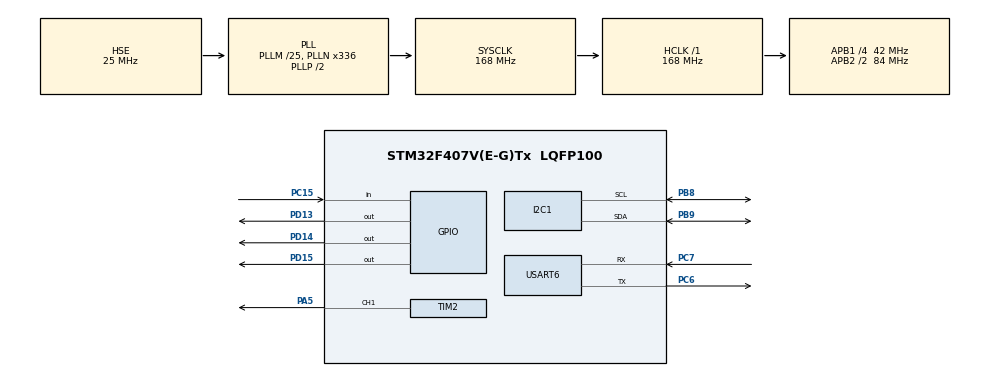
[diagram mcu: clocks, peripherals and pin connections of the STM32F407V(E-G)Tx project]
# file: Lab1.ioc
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Mcu.Family=STM32F4
Mcu.Name=STM32F407V(E-G)Tx
Mcu.Package=LQFP100
NVIC.I2C1_ER_IRQn=true\:0\:0\:false\:false\:true\:true\:true
NVIC.I2C1_EV_IRQn=true\:0\:0\:false\:false\:true\:true\:true
NVIC.PriorityGroup=NVIC_PRIORITYGROUP_4
NVIC.TIM6_DAC_IRQn=true\:0\:0\:false\:false\:true\:true\:true
NVIC.USART6_IRQn=true\:0\:0\:false\:false\:true\:true\:true
PA13.Mode=JTAG_5_pins
PA13.Signal=SYS_JTMS-SWDIO
PA14.Mode=JTAG_5_pins
PA14.Signal=SYS_JTCK-SWCLK
PA15.Mode=JTAG_5_pins
PA15.Signal=SYS_JTDI
PA5.Signal=S_TIM2_CH1_ETR
PB3.Mode=JTAG_5_pins
PB3.Signal=SYS_JTDO-SWO
PB4.Mode=JTAG_5_pins
PB4.Signal=SYS_JTRST
PB8.Mode=I2C
PB8.Signal=I2C1_SCL
PB9.Mode=I2C
PB9.Signal=I2C1_SDA
PC15-OSC32_OUT.Signal=GPIO_Input
PC6.Mode=Asynchronous
PC6.Signal=USART6_TX
PC7.Mode=Asynchronous
PC7.Signal=USART6_RX
PD13.Signal=GPIO_Output
PD14.Signal=GPIO_Output
PD15.Signal=GPIO_Output
PH0-OSC_IN.Mode=HSE-External-Oscillator
PH0-OSC_IN.Signal=RCC_OSC_IN
PH1-OSC_OUT.Mode=HSE-External-Oscillator
PH1-OSC_OUT.Signal=RCC_OSC_OUT
ProjectManager.HeapSize=0x200
ProjectManager.StackSize=0x400
ProjectManager.TargetToolchain=STM32CubeIDE
RCC.48MHZClocksFreq_Value=84000000
RCC.AHBFreq_Value=168000000
RCC.APB1CLKDivider=RCC_HCLK_DIV4
RCC.APB1Freq_Value=42000000
RCC.APB1TimFreq_Value=84000000
RCC.APB2CLKDivider=RCC_HCLK_DIV2
RCC.APB2Freq_Value=84000000
RCC.APB2TimFreq_Value=168000000
RCC.CortexFreq_Value=168000000
RCC.HCLKFreq_Value=168000000
RCC.HSE_VALUE=25000000
RCC.HSI_VALUE=16000000
RCC.LSE_VALUE=32768
RCC.PLLM=25
RCC.PLLN=336
RCC.PLLSourceVirtual=RCC_PLLSOURCE_HSE
RCC.SYSCLKFreq_VALUE=168000000
RCC.SYSCLKSource=RCC_SYSCLKSOURCE_PLLCLK
RCC.VCOOutputFreq_Value=336000000
SH.S_TIM2_CH1_ETR.0=TIM2_CH1,PWM Generation1 CH1
TIM2.Channel-PWM\ Generation1\ CH1=TIM_CHANNEL_1
TIM2.Period=10
TIM6.Period=100
TIM6.Prescaler=16000
USART6.VirtualMode=VM_ASYNC
VP_TIM6_VS_ClockSourceINT.Mode=Enable_Timer
board=custom

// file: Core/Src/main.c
/* USER CODE BEGIN Header */
/**
  ******************************************************************************
  * @file           : main.c
  * @brief          : Main program body
  ******************************************************************************
  * @attention
  *
  * <h2><center>&copy; Copyright (c) 2021 STMicroelectronics.
  * All rights reserved.</center></h2>
  *
  * This software component is licensed by ST under BSD 3-Clause license,
  * the "License"; You may not use this file except in compliance with the
  * License. You may obtain a copy of the License at:
  *                        opensource.org/licenses/BSD-3-Clause
  *
  ******************************************************************************
  */
/* USER CODE END Header */
#include "main.h"
#include "i2c.h"
#include "tim.h"
#include "usart.h"
#include "gpio.h"

/* USER CODE BEGIN Includes */

#include "hal_driver.h"
#include <stdio.h>
#include "kb.h"
#include "sound_driver.h"
#include "oled.h"

/* USER CODE END Includes */

void SystemClock_Config(void);

#define BUFFER_SIZE 32

uint8_t buffer[BUFFER_SIZE];

size_t write_pointer = 0;
size_t read_pointer = 0;

enum MathOperation {
    ADDITION,
    SUBTRACTION,
    MULTIPLICATION,
    DIVISION,
    EQUAL,
    NONE
};

int mode = 0;
char ch[] = "F";
char message[150] = "";
char mode0[] = "Mode: Preriv \n\r";
char mode1[] = "Mode: Bez Preriv \n\r";
int canReceive = 1;
short isFirst = 1;
short isJustReset = 1;
short counter = 0;
short firstOperand = 0;
short secondOperand = 0;
enum MathOperation operation = NONE;

char calcChars[] = "0123456789";
char calcCharsOperations[] = "+-*/=";
short curCalcsOperation = 0;
char errorMessage[] = "ERROR";
char errorMessageDiv[] = "Cant divide by zero";

//LAB4

#define FONT Font_7x10 // MB CHANGE

void writeScreenMessage(char *message) {
    oled_WriteString(message, FONT, White);
    oled_UpdateScreen();
}

void writeScreenChar(char ch) {
    oled_WriteChar(ch, FONT, White);
    oled_UpdateScreen();
}

void resetScreen() {
    oled_Fill(Black);
    oled_SetCursor(0, 0);
    oled_UpdateScreen();
}

void writeScreenError() {
    writeScreenMessage(errorMessage);
    oled_UpdateScreen();
}

void writeScreenErrorAndReset() {
    writeScreenError();
    resetCalc();
    oled_UpdateScreen();
}

void nextOperation(){
    curCalcsOperation++;
    if (curCalcsOperation > 3)
        curCalcsOperation = 0;
}

short checkNumbertoOverflow(short fullNumber, short number) {
    if ((fullNumber == 3276 && number >= 7) || fullNumber > 3276)
        return -1;
    return fullNumber * 10 + number;
}

short getNumber(char ch) {
    short asciNum = ch;
    if (asciNum >= 48 && asciNum <= 57)
        return asciNum - '0';
    return -1;
}

enum MathOperation getMathOperation(char ch) {
    switch (ch) {
        case '+':
            return ADDITION;
        case '-':
            return SUBTRACTION;
        case '*':
            return MULTIPLICATION;
        case '/':
            return DIVISION;
        case '=':
            return EQUAL;
    }
    return NONE;
}

void handle_calc(char ch) {
    if (isJustReset) {
        resetScreen();
        isJustReset = 0;
    }
    snprintf(message, sizeof(message),
                             "Key in calc pressed is %d\r\n", ch);
                    sendMessage(message);
    enum MathOperation operationBuf = getMathOperation(ch);
    if (operationBuf == NONE){
    	if (!isFirst && counter == 0)
    		oled_SetCursor(0, 20);
    	writeScreenChar(ch);
    }
    if (operationBuf != NONE && operationBuf != EQUAL && (!isFirst && counter == 0 ||  isFirst && counter > 0)) {
                oled_SetCursor(0, 10);
                writeScreenChar(ch);
                operation = operationBuf;
                isFirst = 0;
                counter = 0;
                oled_UpdateScreen();
                return;
            }

    if (counter > 0) {
        if (isFirst && operationBuf != NONE && operationBuf != EQUAL) {
            oled_SetCursor(0, 10);
            writeScreenChar(ch);
            operation = operationBuf;
            isFirst = 0;
            counter = 0;
            oled_UpdateScreen();
            return;
        }
        if (!isFirst && operationBuf != NONE && operationBuf != EQUAL){
        	writeScreenErrorAndReset();
        	return;
        }
        if (!isFirst && operationBuf != NONE && operationBuf == EQUAL) {
        	oled_SetCursor(0, 30);
        	writeScreenChar(ch);
        	oled_SetCursor(0, 40);
            long testOverflow;
            short res;
            switch (operation) {
                case ADDITION: {
                    testOverflow = firstOperand + secondOperand;
                    res = firstOperand + secondOperand;
                    break;
                }
                case SUBTRACTION: {
                    testOverflow = firstOperand - secondOperand;
                    res = firstOperand - secondOperand;
                    break;
                }
                case MULTIPLICATION: {
                    testOverflow = firstOperand * secondOperand;
                    res = firstOperand * secondOperand;
                    break;
                }
                case DIVISION: {
                    if (secondOperand == 0) {
                        //sprintf(message, "\n\rCant divide by zero\n\r");
                        writeScreenMessage(errorMessageDiv);
                        resetCalc();
                        return;
                    }
                    testOverflow = firstOperand / secondOperand;
                    res = firstOperand / secondOperand;
                    break;
                }
            }
            if (res == testOverflow) {
                sprintf(message, "%d", res);
                writeScreenMessage(message);
            } else {
                writeScreenError();
            }
            resetCalc();
            oled_UpdateScreen();
            return;
        }
    }
    if (operationBuf != NONE || counter > 4) {
        writeScreenErrorAndReset();
        return;
    }

    short number = getNumber(ch);
    if (number != -1) {
        if (isFirst) {
            short numberBuf = checkNumbertoOverflow(firstOperand, number);
            if (numberBuf == -1) {
                writeScreenErrorAndReset();
                return;
            }
            firstOperand = numberBuf;
        } else {
            short numberBuf = checkNumbertoOverflow(secondOperand, number);
            if (numberBuf == -1) {
                writeScreenErrorAndReset();
                return;
            }
            secondOperand = numberBuf;
        }
        counter++;
    } else {
        writeScreenErrorAndReset();
    }
}

short makeMathOperation(enum MathOperation operation, short firstOperand, short secondOperand) {
    switch (operation) {
        case ADDITION: {
            long testOverflow = firstOperand + secondOperand;
            short result = firstOperand + secondOperand;
            if (result == testOverflow)
                return result;
            else
                return -1;
        }
        case SUBTRACTION:
            return firstOperand - secondOperand;
        case MULTIPLICATION: {
            long testOverflow = firstOperand * secondOperand;
            short result = firstOperand * secondOperand;
            if (result == testOverflow)
                return result;
            else
                return -1;
        }
        case DIVISION: {
            return firstOperand / secondOperand;
        }
    }
    return -1;
}

void
resetCalc() {
    isFirst = 1;
    counter = 0;
    firstOperand = 0;
    secondOperand = 0;
    operation = NONE;
    isJustReset = 1;
}

void buffer_init() {
    for (size_t i = 0; i < BUFFER_SIZE; ++i)
        buffer[i] = 0;
}

void buffer_add(uint8_t num) {
    buffer[write_pointer] = num;
    write_pointer = (write_pointer + 1) % BUFFER_SIZE;
}

int buffer_read() {
    if (read_pointer == write_pointer) {
        return -1;
    }
    uint8_t num = buffer[read_pointer];
    read_pointer = (read_pointer + 1) % BUFFER_SIZE;
    return num;
}

void keyboard_read(void) {
//    static uint8_t const rows[4] = { 0xF7, 0x7B, 0x3D, 0x1E };
    static uint8_t const rows[4] = {0x1E, 0x3D, 0x7B, 0xF7};
    static int current_row = 0;
    static int row_result[4] = {0, 0, 0, 0};

    if (ks_state == 0) {
        if (row_result[current_row] != ks_result) {
            uint8_t keyNum = 0;
            if (ks_result & 1) {
                buffer_add(3 * current_row + 3);
            }
            if (ks_result & 2) {
                buffer_add(3 * current_row + 2);
            }
            if (ks_result & 4) {
                buffer_add(3 * current_row + 1);
            }
        }

        row_result[current_row] = ks_result;
        current_row = (current_row + 1) % 4;
        ks_current_row = rows[current_row];
        ks_continue();
    }
}

void HAL_I2C_MemTxCpltCallback(I2C_HandleTypeDef *hi2c) {
    if (hi2c == &hi2c1 && ks_state) {
        ks_continue();
    }
}

void HAL_I2C_MemRxCpltCallback(I2C_HandleTypeDef *hi2c) {
    if (hi2c == &hi2c1 && ks_state) {
        ks_continue();
    }
}

//void HAL_TIM_PeriodElapsedCallback(TIM_HandleTypeDef *htim) {
//    if (htim->Instance == TIM6) {
//        keyboard_read();
//    }
//}

typedef enum {
    INPUT_PORT = 0x00, //Read byte XXXX XXXX
    OUTPUT_PORT = 0x01, //Read/write byte 1111 1111
    POLARITY_INVERSION = 0x02, //Read/write byte 0000 0000
    CONFIG = 0x03 //Read/write byte 1111 1111
} pca9538_regs_t;

void sendMessage(char *message) {
    int size = strlen(message);
//    if (mode)
    HAL_UART_Transmit(&huart6, (uint8_t *) message, size, 100);
//    else {
////    	delay(1000);
//        long time = getCurrentTime();
//        HAL_StatusTypeDef isReaded1 = HAL_BUSY;
//        int curtime = getCurrentTime();
//        int counter = 0;
//        while (counter < 100000 && isReaded1 == HAL_BUSY) {
//            isReaded1 = HAL_UART_Transmit_IT(&huart6, (uint8_t *) message, size);
//            curtime = getCurrentTime();
//            counter++;
//        }
//    }
}

void sendError() {
    sendMessage(errorMessage);
}

void sendErrorAndReset() {
    sendError();
    resetCalc();
}

//void HAL_UART_TxCpltCallback(UART_HandleTypeDef *huart) {

int TEMPO_AHA = 140;

int melody_AHA[] = {

        // Take on me, by A-ha
        // Score available at https://musescore.com/user/27103612/scores/4834399
        // Arranged by Edward Truong

        NOTE_FS5, 8, NOTE_FS5, 8, NOTE_D5, 8, NOTE_B4, 8, REST, 8, NOTE_B4, 8, REST, 8, NOTE_E5, 8,
        REST, 8, NOTE_E5, 8, REST, 8, NOTE_E5, 8, NOTE_GS5, 8, NOTE_GS5, 8, NOTE_A5, 8, NOTE_B5, 8,
        NOTE_A5, 8, NOTE_A5, 8, NOTE_A5, 8, NOTE_E5, 8, REST, 8, NOTE_D5, 8, REST, 8, NOTE_FS5, 8,
        REST, 8, NOTE_FS5, 8, REST, 8, NOTE_FS5, 8, NOTE_E5, 8, NOTE_E5, 8, NOTE_FS5, 8, NOTE_E5, 8,
        NOTE_FS5, 8, NOTE_FS5, 8, NOTE_D5, 8, NOTE_B4, 8, REST, 8, NOTE_B4, 8, REST, 8, NOTE_E5, 8,

        REST, 8, NOTE_E5, 8, REST, 8, NOTE_E5, 8, NOTE_GS5, 8, NOTE_GS5, 8, NOTE_A5, 8, NOTE_B5, 8,
        NOTE_A5, 8, NOTE_A5, 8, NOTE_A5, 8, NOTE_E5, 8, REST, 8, NOTE_D5, 8, REST, 8, NOTE_FS5, 8,
        REST, 8, NOTE_FS5, 8, REST, 8, NOTE_FS5, 8, NOTE_E5, 8, NOTE_E5, 8, NOTE_FS5, 8, NOTE_E5, 8,
        NOTE_FS5, 8, NOTE_FS5, 8, NOTE_D5, 8, NOTE_B4, 8, REST, 8, NOTE_B4, 8, REST, 8, NOTE_E5, 8,
        REST, 8, NOTE_E5, 8, REST, 8, NOTE_E5, 8, NOTE_GS5, 8, NOTE_GS5, 8, NOTE_A5, 8, NOTE_B5, 8,

        NOTE_A5, 8, NOTE_A5, 8, NOTE_A5, 8, NOTE_E5, 8, REST, 8, NOTE_D5, 8, REST, 8, NOTE_FS5, 8,
        REST, 8, NOTE_FS5, 8, REST, 8, NOTE_FS5, 8, NOTE_E5, 8, NOTE_E5, 8, NOTE_FS5, 8, NOTE_E5, 8,

};

int TEMPO_STARWARS = 108;

int melody_STARWARS[] = {

        // Dart Vader theme (Imperial March) - Star wars
        // Score available at https://musescore.com/user/202909/scores/1141521
        // The tenor saxophone part was used

        NOTE_AS4, 8, NOTE_AS4, 8, NOTE_AS4, 8,//1
        NOTE_F5, 2, NOTE_C6, 2,
        NOTE_AS5, 8, NOTE_A5, 8, NOTE_G5, 8, NOTE_F6, 2, NOTE_C6, 4,
        NOTE_AS5, 8, NOTE_A5, 8, NOTE_G5, 8, NOTE_F6, 2, NOTE_C6, 4,
        NOTE_AS5, 8, NOTE_A5, 8, NOTE_AS5, 8, NOTE_G5, 2, NOTE_C5, 8, NOTE_C5, 8, NOTE_C5, 8,
        NOTE_F5, 2, NOTE_C6, 2,
        NOTE_AS5, 8, NOTE_A5, 8, NOTE_G5, 8, NOTE_F6, 2, NOTE_C6, 4,

        NOTE_AS5, 8, NOTE_A5, 8, NOTE_G5, 8, NOTE_F6, 2, NOTE_C6, 4, //8
        NOTE_AS5, 8, NOTE_A5, 8, NOTE_AS5, 8, NOTE_G5, 2, NOTE_C5, -8, NOTE_C5, 16,
        NOTE_D5, -4, NOTE_D5, 8, NOTE_AS5, 8, NOTE_A5, 8, NOTE_G5, 8, NOTE_F5, 8,
        NOTE_F5, 8, NOTE_G5, 8, NOTE_A5, 8, NOTE_G5, 4, NOTE_D5, 8, NOTE_E5, 4, NOTE_C5, -8, NOTE_C5, 16,
        NOTE_D5, -4, NOTE_D5, 8, NOTE_AS5, 8, NOTE_A5, 8, NOTE_G5, 8, NOTE_F5, 8,

        NOTE_C6, -8, NOTE_G5, 16, NOTE_G5, 2, REST, 8, NOTE_C5, 8,//13
        NOTE_D5, -4, NOTE_D5, 8, NOTE_AS5, 8, NOTE_A5, 8, NOTE_G5, 8, NOTE_F5, 8,
        NOTE_F5, 8, NOTE_G5, 8, NOTE_A5, 8, NOTE_G5, 4, NOTE_D5, 8, NOTE_E5, 4, NOTE_C6, -8, NOTE_C6, 16,
        NOTE_F6, 4, NOTE_DS6, 8, NOTE_CS6, 4, NOTE_C6, 8, NOTE_AS5, 4, NOTE_GS5, 8, NOTE_G5, 4, NOTE_F5, 8,
        NOTE_C6, 1

};

int TEMPO_TETRIS = 144;

int melody_tetris[] = {

        //Based on the arrangement at https://www.flutetunes.com/tunes.php?id=192

        NOTE_E5, 4, NOTE_B4, 8, NOTE_C5, 8, NOTE_D5, 4, NOTE_C5, 8, NOTE_B4, 8,
        NOTE_A4, 4, NOTE_A4, 8, NOTE_C5, 8, NOTE_E5, 4, NOTE_D5, 8, NOTE_C5, 8,
        NOTE_B4, -4, NOTE_C5, 8, NOTE_D5, 4, NOTE_E5, 4,
        NOTE_C5, 4, NOTE_A4, 4, NOTE_A4, 8, NOTE_A4, 4, NOTE_B4, 8, NOTE_C5, 8,

        NOTE_D5, -4, NOTE_F5, 8, NOTE_A5, 4, NOTE_G5, 8, NOTE_F5, 8,
        NOTE_E5, -4, NOTE_C5, 8, NOTE_E5, 4, NOTE_D5, 8, NOTE_C5, 8,
        NOTE_B4, 4, NOTE_B4, 8, NOTE_C5, 8, NOTE_D5, 4, NOTE_E5, 4,
        NOTE_C5, 4, NOTE_A4, 4, NOTE_A4, 4, REST, 4,

        NOTE_E5, 4, NOTE_B4, 8, NOTE_C5, 8, NOTE_D5, 4, NOTE_C5, 8, NOTE_B4, 8,
        NOTE_A4, 4, NOTE_A4, 8, NOTE_C5, 8, NOTE_E5, 4, NOTE_D5, 8, NOTE_C5, 8,
        NOTE_B4, -4, NOTE_C5, 8, NOTE_D5, 4, NOTE_E5, 4,
        NOTE_C5, 4, NOTE_A4, 4, NOTE_A4, 8, NOTE_A4, 4, NOTE_B4, 8, NOTE_C5, 8,

        NOTE_D5, -4, NOTE_F5, 8, NOTE_A5, 4, NOTE_G5, 8, NOTE_F5, 8,
        NOTE_E5, -4, NOTE_C5, 8, NOTE_E5, 4, NOTE_D5, 8, NOTE_C5, 8,
        NOTE_B4, 4, NOTE_B4, 8, NOTE_C5, 8, NOTE_D5, 4, NOTE_E5, 4,
        NOTE_C5, 4, NOTE_A4, 4, NOTE_A4, 4, REST, 4,

        NOTE_E5, 2, NOTE_C5, 2,
        NOTE_D5, 2, NOTE_B4, 2,
        NOTE_C5, 2, NOTE_A4, 2,
        NOTE_GS4, 2, NOTE_B4, 4, REST, 8,
        NOTE_E5, 2, NOTE_C5, 2,
        NOTE_D5, 2, NOTE_B4, 2,
        NOTE_C5, 4, NOTE_E5, 4, NOTE_A5, 2,
        NOTE_GS5, 2,

};

int melody_Potter[] = {

        // Hedwig's theme fromn the Harry Potter Movies
        // Socre from https://musescore.com/user/3811306/scores/4906610

        REST, 2, NOTE_D4, 4,
        NOTE_G4, -4, NOTE_AS4, 8, NOTE_A4, 4,
        NOTE_G4, 2, NOTE_D5, 4,
        NOTE_C5, -2,
        NOTE_A4, -2,
        NOTE_G4, -4, NOTE_AS4, 8, NOTE_A4, 4,
        NOTE_F4, 2, NOTE_GS4, 4,
        NOTE_D4, -1,
        NOTE_D4, 4,

        NOTE_G4, -4, NOTE_AS4, 8, NOTE_A4, 4, //10
        NOTE_G4, 2, NOTE_D5, 4,
        NOTE_F5, 2, NOTE_E5, 4,
        NOTE_DS5, 2, NOTE_B4, 4,
        NOTE_DS5, -4, NOTE_D5, 8, NOTE_CS5, 4,
        NOTE_CS4, 2, NOTE_B4, 4,
        NOTE_G4, -1,
        NOTE_AS4, 4,

        NOTE_D5, 2, NOTE_AS4, 4,//18
        NOTE_D5, 2, NOTE_AS4, 4,
        NOTE_DS5, 2, NOTE_D5, 4,
        NOTE_CS5, 2, NOTE_A4, 4,
        NOTE_AS4, -4, NOTE_D5, 8, NOTE_CS5, 4,
        NOTE_CS4, 2, NOTE_D4, 4,
        NOTE_D5, -1,
        REST, 4, NOTE_AS4, 4,

        NOTE_D5, 2, NOTE_AS4, 4,//26
        NOTE_D5, 2, NOTE_AS4, 4,
        NOTE_F5, 2, NOTE_E5, 4,
        NOTE_DS5, 2, NOTE_B4, 4,
        NOTE_DS5, -4, NOTE_D5, 8, NOTE_CS5, 4,
        NOTE_CS4, 2, NOTE_AS4, 4,
        NOTE_G4, -1,

};

int TEMPO_POTTER = 122;

int TEMPO_MII = 114;

int melody_MII[] = {

        // Mii Channel theme
        // Score available at https://musescore.com/user/16403456/scores/4984153
        // Uploaded by Catalina Andrade

        NOTE_FS4, 8, REST, 8, NOTE_A4, 8, NOTE_CS5, 8, REST, 8, NOTE_A4, 8, REST, 8, NOTE_FS4, 8, //1
        NOTE_D4, 8, NOTE_D4, 8, NOTE_D4, 8, REST, 8, REST, 4, REST, 8, NOTE_CS4, 8,
        NOTE_D4, 8, NOTE_FS4, 8, NOTE_A4, 8, NOTE_CS5, 8, REST, 8, NOTE_A4, 8, REST, 8, NOTE_F4, 8,
        NOTE_E5, -4, NOTE_DS5, 8, NOTE_D5, 8, REST, 8, REST, 4,

        NOTE_GS4, 8, REST, 8, NOTE_CS5, 8, NOTE_FS4, 8, REST, 8, NOTE_CS5, 8, REST, 8, NOTE_GS4, 8, //5
        REST, 8, NOTE_CS5, 8, NOTE_G4, 8, NOTE_FS4, 8, REST, 8, NOTE_E4, 8, REST, 8,
        NOTE_E4, 8, NOTE_E4, 8, NOTE_E4, 8, REST, 8, REST, 4, NOTE_E4, 8, NOTE_E4, 8,
        NOTE_E4, 8, REST, 8, REST, 4, NOTE_DS4, 8, NOTE_D4, 8,

        NOTE_CS4, 8, REST, 8, NOTE_A4, 8, NOTE_CS5, 8, REST, 8, NOTE_A4, 8, REST, 8, NOTE_FS4, 8, //9
        NOTE_D4, 8, NOTE_D4, 8, NOTE_D4, 8, REST, 8, NOTE_E5, 8, NOTE_E5, 8, NOTE_E5, 8, REST, 8,
        REST, 8, NOTE_FS4, 8, NOTE_A4, 8, NOTE_CS5, 8, REST, 8, NOTE_A4, 8, REST, 8, NOTE_F4, 8,
        NOTE_E5, 2, NOTE_D5, 8, REST, 8, REST, 4,

        NOTE_B4, 8, NOTE_G4, 8, NOTE_D4, 8, NOTE_CS4, 4, NOTE_B4, 8, NOTE_G4, 8, NOTE_CS4, 8, //13
        NOTE_A4, 8, NOTE_FS4, 8, NOTE_C4, 8, NOTE_B3, 4, NOTE_F4, 8, NOTE_D4, 8, NOTE_B3, 8,
        NOTE_E4, 8, NOTE_E4, 8, NOTE_E4, 8, REST, 4, REST, 4, NOTE_AS4, 4,
        NOTE_CS5, 8, NOTE_D5, 8, NOTE_FS5, 8, NOTE_A5, 8, REST, 8, REST, 4,

        REST, 2, NOTE_A3, 4, NOTE_AS3, 4, //17
        NOTE_A3, -4, NOTE_A3, 8, NOTE_A3, 2,
        REST, 4, NOTE_A3, 8, NOTE_AS3, 8, NOTE_A3, 8, NOTE_F4, 4, NOTE_C4, 8,
        NOTE_A3, -4, NOTE_A3, 8, NOTE_A3, 2,

        REST, 2, NOTE_B3, 4, NOTE_C4, 4, //21
        NOTE_CS4, -4, NOTE_C4, 8, NOTE_CS4, 2,
        REST, 4, NOTE_CS4, 8, NOTE_C4, 8, NOTE_CS4, 8, NOTE_GS4, 4, NOTE_DS4, 8,
        NOTE_CS4, -4, NOTE_DS4, 8, NOTE_B3, 1,

        NOTE_E4, 4, NOTE_E4, 4, NOTE_E4, 4, REST, 8,//25

};

int TEMPO = 144;

//int wholenote = (60000 * 4) / TEMPO;

int wholeNote(int tempo) {
    return (60000 * 4) / tempo;
}

enum MusicBoxStatus {
    MUSIC_BOX_PLAYING,
    MUSIC_BOX_EDITING,
    MUSIC_BOX_EDITING_TEMPO,
    MUSIC_BOX_EDITING_NOTE,
    MUSIC_BOX_EDITING_DELAY
};

enum MusicBoxStatus currentMusicBoxStatus = MUSIC_BOX_PLAYING;

#define CUSTOM_MELODY_LENGTH 64

int custom_melody[CUSTOM_MELODY_LENGTH];

int custom_melody_size = 0;

int custom_tempo = 0;

void custom_melody_init() {
    for (size_t i = 0; i < CUSTOM_MELODY_LENGTH; i = i + 2) {
        custom_melody[i] = 0;
        custom_melody[i + 1] = 8;
    }
}

int currentTempo = 0;
int currentMelodySize = 0;

int *currentMelody;

int currentMelodyPosition = 0;

void moveToNextMelodyPosition() {
    currentMelodyPosition++;
    if (currentMelodyPosition > currentMelodySize)
        currentMelodyPosition = 0;
}

void handleInputEditingNote(int pressed_key) {
    switch (pressed_key) {
        case 1:
            custom_melody[custom_melody_size] = NOTE_A4;
            break;
        case 2:
            custom_melody[custom_melody_size] = NOTE_D4;
            break;
        case 3:
            custom_melody[custom_melody_size] = NOTE_G4;
            break;
        case 4:
            custom_melody[custom_melody_size] = NOTE_E5;
            break;
        case 5:
            custom_melody[custom_melody_size] = NOTE_CS5;
            break;
        case 6:
            custom_melody[custom_melody_size] = NOTE_D7;
            break;
        case 7:
            custom_melody[custom_melody_size] = NOTE_G7;
            break;
        case 8:
            custom_melody[custom_melody_size] = NOTE_C8;
            break;
        case 9:
            snprintf(message, sizeof(message),
                     "Current melody to add %d\r\n", custom_melody[custom_melody_size]);
            sendMessage(message);
            break;
        case 12:
            snprintf(message, sizeof(message),
                     "Added melody %d\r\n", custom_melody[custom_melody_size]);
            sendMessage(message);
            custom_melody_size++;
            currentMusicBoxStatus = MUSIC_BOX_EDITING_DELAY;
            break;
    }
}

void handleInputEditingDelay(int pressed_key) {
    switch (pressed_key) {
        case 1:
            custom_melody[custom_melody_size] = -16;
            break;
        case 2:
            custom_melody[custom_melody_size] = -8;
            break;
        case 3:
            custom_melody[custom_melody_size] = -4;
            break;
        case 4:
            custom_melody[custom_melody_size] = -2;
            break;
        case 5:
            custom_melody[custom_melody_size] = 2;
            break;
        case 6:
            custom_melody[custom_melody_size] = 4;
            break;
        case 7:
            custom_melody[custom_melody_size] = 8;
            break;
        case 8:
            custom_melody[custom_melody_size] = 16;
            break;
        case 9:
            snprintf(message, sizeof(message),
                     "Current delay to add: %d\r\n", custom_melody[custom_melody_size]);
            sendMessage(message);
            break;
        case 12:
            snprintf(message, sizeof(message),
                     "Added delay: %d\r\n", custom_melody[custom_melody_size]);
            sendMessage(message);
            custom_melody_size++;
            currentMusicBoxStatus = MUSIC_BOX_EDITING;
            break;
    }
}

void handleInputEditingTempo(int pressed_key) {
    switch (pressed_key) {
        case 1:
            custom_tempo = 100;
            break;
        case 2:
            custom_tempo = 110;
            break;
        case 3:
            custom_tempo = 115;
            break;
        case 4:
            custom_tempo = 120;
            break;
        case 5:
            custom_tempo = 125;
            break;
        case 6:
            custom_tempo = 130;
            break;
        case 7:
            custom_tempo = 135;
            break;
        case 8:
            custom_tempo = 140;
            break;
        case 9:
            snprintf(message, sizeof(message),
                     "The Custom tempo: %d\r\n", custom_tempo);
            sendMessage(message);
            break;
        case 12:
            currentMusicBoxStatus = MUSIC_BOX_EDITING;
            snprintf(message, sizeof(message),
                     "Applied tempo: %d\r\n", custom_tempo);
            sendMessage(message);
            break;
    }
}

void handleInputPlaying(int pressed_key) {
    switch (pressed_key) {
        case 1:
            currentMelody = melody_AHA;
            currentMelodySize = sizeof(melody_AHA) / sizeof(melody_AHA[0]);
            currentTempo = TEMPO_AHA;
            currentMelodyPosition = 0;
            snprintf(message, sizeof(message),
                     "Playing AHHA - Take on me\r\n");
            sendMessage(message);
            break;
        case 2:
            currentMelody = melody_Potter;
            currentMelodySize = sizeof(melody_Potter) / sizeof(melody_Potter[0]);
            currentTempo = TEMPO_POTTER;
            currentMelodyPosition = 0;
            snprintf(message, sizeof(message),
                     "Playing  Harry Potter - Hedwig's theme\r\n");
            sendMessage(message);
            break;
        case 3:
            currentMelody = melody_STARWARS;
            currentMelodySize = sizeof(melody_STARWARS) / sizeof(melody_STARWARS[0]);
            currentTempo = TEMPO_STARWARS;
            currentMelodyPosition = 0;
            snprintf(message, sizeof(message),
                     "Playing Star Wars - Imperial March\r\n");
            sendMessage(message);
            break;
        case 4:
            currentMelody = melody_MII;
            currentMelodySize = sizeof(melody_MII) / sizeof(melody_MII[0]);
            currentTempo = TEMPO_MII;
            currentMelodyPosition = 0;
            snprintf(message, sizeof(message),
                     "Playing  Mii channel theme\r\n");
            sendMessage(message);
            break;
        case 5:
            currentMelody = custom_melody;
            currentMelodySize = custom_melody_size;
            currentTempo = custom_tempo;
            currentMelodyPosition = 0;
            snprintf(message, sizeof(message),
                     "Playing  Custom Melody\r\n");
            sendMessage(message);
            break;
        case 6:
            currentMusicBoxStatus = MUSIC_BOX_EDITING;
            snprintf(message, sizeof(message),
                     "Editing Mode On\r\n");
            sendMessage(message);
            break;
    }
}

void handleInputEditing(int pressed_key) {
    switch (pressed_key) {
        case 7:
            snprintf(message, sizeof(message),
                     "Playing Music\r\n");
            sendMessage(message);
            currentMusicBoxStatus = MUSIC_BOX_PLAYING;
            break;
        case 8:
            snprintf(message, sizeof(message),
                     "Printing User Melody\r\n"
                     "Tempo: %d\r\n"
                     "Size: %d\r\n"
                     "Max_Size: %d\r\n"
                     "Notes: \r\n", custom_tempo, custom_melody_size, CUSTOM_MELODY_LENGTH);
            sendMessage(message);

            for (size_t i = 0; i < custom_melody_size; i = i + 2) {
                snprintf(message, sizeof(message), "%d %d | ",
                         custom_melody[i], custom_melody[i + 1]);
                sendMessage(message);
            }
            snprintf(message, sizeof(message), "\r\n");
            sendMessage(message);
            break;
        case 9:
            if (custom_melody_size + 2 <= CUSTOM_MELODY_LENGTH) {
                snprintf(message, sizeof(message),
                         "Adding Note\r\n");
                currentMusicBoxStatus = MUSIC_BOX_EDITING_NOTE;
            } else {
                snprintf(message, sizeof(message),
                         "Cannot add note, cut one by pressing 11\r\n");
            }
            sendMessage(message);
            break;
        case 10:
            snprintf(message, sizeof(message),
                     "Editing TEMPO\r\n");
            currentMusicBoxStatus = MUSIC_BOX_EDITING_TEMPO;
            sendMessage(message);
            break;
        case 11:
            snprintf(message, sizeof(message),
                     "Сutting one Note and Delay\r\n");
            custom_melody_size = custom_melody_size - 2;
            if (custom_melody_size < 0)
                custom_melody_size = 0;
            sendMessage(message);
            break;
    }
}

void handleInput(int pressed_key) {
    if (pressed_key < 1 || pressed_key > 12)
        return;
    switch (currentMusicBoxStatus) {
        case MUSIC_BOX_PLAYING:
            handleInputPlaying(pressed_key);
            break;
        case MUSIC_BOX_EDITING:
            handleInputEditing(pressed_key);
            break;
        case MUSIC_BOX_EDITING_NOTE:
            handleInputEditingNote(pressed_key);
            break;
        case MUSIC_BOX_EDITING_TEMPO:
            handleInputEditingTempo(pressed_key);
            break;
        case MUSIC_BOX_EDITING_DELAY:
            handleInputEditingDelay(pressed_key);
            break;
    }
}

int main(void) {
    /* USER CODE BEGIN 1 */
    HAL_StatusTypeDef isReaded;
    int shortPressTime = 200;
    int isBeingProceed = 0;
    long startTimePressedButton = 0;
    char chtest[] = "F\n\r";
    int melody_tick = 0;
    int new = 1;
    int played = 0;

    currentMelody = melody_AHA;
    currentMelodySize = sizeof(melody_AHA) / sizeof(melody_AHA[0]);
    currentTempo = TEMPO_AHA;
    currentMelodyPosition = 0;
    int cur_melody = 0;
    int cur_pause = 0;
    int tempo = 0;
    int noteDuration = 0;

    /* USER CODE END 1 */

    /* MCU Configuration--------------------------------------------------------*/

    /* Reset of all peripherals, Initializes the Flash interface and the Systick. */
    HAL_Init();

    /* Configure the system clock */
    SystemClock_Config();

    /* Initialize all configured peripherals */
    MX_GPIO_Init();
    MX_USART6_UART_Init();
    MX_I2C1_Init();
    MX_TIM2_Init();
    MX_TIM6_Init();
    /* USER CODE BEGIN 2 */
    sound_driver_init();
    oled_Init();
    oled_Fill(Black);
    oled_UpdateScreen();
    HAL_TIM_Base_Start_IT(&htim6);
//  ks_continue();
    /* USER CODE END 2 */

    /* Infinite loop */
    while (1) {

        /* USER CODE BEGIN 3 */
//        blinkGreenDiode();
    	keyboard_read();
//    	delay(10);
        if (!getButtonState()) {
            if (!isBeingProceed) {
                startTimePressedButton = getCurrentTime();
                isBeingProceed = 1;
            }
        } else {
            if (isBeingProceed && getCurrentTime() - startTimePressedButton > shortPressTime) {
                if (mode == 1) {
                    mode = 0;
                    sendMessage(mode0);
                } else {
                    mode = 1;
                    sendMessage(mode1);
                }
                sound_driver_volume_mute();
            }
            isBeingProceed = 0;
        }
        int key_pressed = buffer_read();
//        snprintf(message, sizeof(message),
//                                 "Key beffore pressed is %d\r\n", key_pressed);
//        sendMessage(message);

        if (mode) {
            if (key_pressed > 0 && key_pressed < 13) {
                snprintf(message, sizeof(message),
                         "Key pressed is %d\r\n", key_pressed);
                sendMessage(message);
            }
            continue;
        }
        if (key_pressed > 0 && key_pressed < 13) {
            if (key_pressed >= 1 && key_pressed <= 9) {
                handle_calc(calcChars[key_pressed]);
                continue;
            }
            if (key_pressed == 11) {
                handle_calc(calcChars[0]);
                continue;
            }
            if (key_pressed == 12){
                handle_calc(calcCharsOperations[4]);
                continue;
            }
            nextOperation();
            handle_calc(calcCharsOperations[curCalcsOperation]);

        }
//        sendMessage("KB test complete\r\n");
    }
    /* USER CODE END 3 */
}

void SystemClock_Config(void) {
    RCC_OscInitTypeDef RCC_OscInitStruct = {0};
    RCC_ClkInitTypeDef RCC_ClkInitStruct = {0};

    /** Configure the main internal regulator output voltage
    */
    __HAL_RCC_PWR_CLK_ENABLE();
    __HAL_PWR_VOLTAGESCALING_CONFIG(PWR_REGULATOR_VOLTAGE_SCALE1);
    /** Initializes the RCC Oscillators according to the specified parameters
    * in the RCC_OscInitTypeDef structure.
    */
    RCC_OscInitStruct.OscillatorType = RCC_OSCILLATORTYPE_HSE;
    RCC_OscInitStruct.HSEState = RCC_HSE_ON;
    RCC_OscInitStruct.PLL.PLLState = RCC_PLL_ON;
    RCC_OscInitStruct.PLL.PLLSource = RCC_PLLSOURCE_HSE;
    RCC_OscInitStruct.PLL.PLLM = 25;
    RCC_OscInitStruct.PLL.PLLN = 336;
    RCC_OscInitStruct.PLL.PLLP = RCC_PLLP_DIV2;
    RCC_OscInitStruct.PLL.PLLQ = 4;
    if (HAL_RCC_OscConfig(&RCC_OscInitStruct) != HAL_OK) {
        Error_Handler();
    }
    /** Initializes the CPU, AHB and APB buses clocks
    */
    RCC_ClkInitStruct.ClockType = RCC_CLOCKTYPE_HCLK | RCC_CLOCKTYPE_SYSCLK
                                  | RCC_CLOCKTYPE_PCLK1 | RCC_CLOCKTYPE_PCLK2;
    RCC_ClkInitStruct.SYSCLKSource = RCC_SYSCLKSOURCE_PLLCLK;
    RCC_ClkInitStruct.AHBCLKDivider = RCC_SYSCLK_DIV1;
    RCC_ClkInitStruct.APB1CLKDivider = RCC_HCLK_DIV4;
    RCC_ClkInitStruct.APB2CLKDivider = RCC_HCLK_DIV2;

    if (HAL_RCC_ClockConfig(&RCC_ClkInitStruct, FLASH_LATENCY_5) != HAL_OK) {
        Error_Handler();
    }
}

void Error_Handler(void) {
    __disable_irq();
    while (1) {
    }
}

/************************ (C) COPYRIGHT STMicroelectronics *****END OF FILE****/
